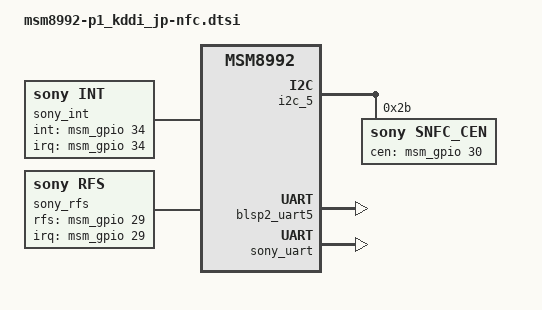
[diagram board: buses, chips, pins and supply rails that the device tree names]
/* Copyright (c) 2012, Code Aurora Forum. All rights reserved.
 *
 * This program is free software; you can redistribute it and/or modify
 * it under the terms of the GNU General Public License version 2 and
 * only version 2 as published by the Free Software Foundation.
 *
 * This program is distributed in the hope that it will be useful,
 * but WITHOUT ANY WARRANTY; without even the implied warranty of
 * MERCHANTABILITY or FITNESS FOR A PARTICULAR PURPOSE.  See the
 * GNU General Public License for more details.
 */

/ {
    aliases {
        serial2 = &blsp2_uart5;  /* ttyHSL2 for NFC/Felica  */
    };
};

&i2c_5 {
        snfc_cen@2b {
            compatible = "sony,snfc_cen";
            status = "ok";
            reg = <0x2b>;
            sony,i2c-pull-up = <1>;
            sony,cen-gpio = <&msm_gpio 30 0x00>;
            pinctrl-names = "nfc_suspend";
            pinctrl-0 = <&nfc_cen_suspend>;
        };
};

&soc {
        blsp2_uart5:serial@f9961000 {
        compatible = "qcom,msm-lsuart-v14";
        reg = <0xf9961000 0x1000>;
        interrupts = <0 117 0>;
        status = "ok";

        clock-names = "core_clk", "iface_clk";
        clocks = <&clock_gcc clk_gcc_blsp2_uart5_apps_clk>,
               <&clock_gcc clk_gcc_blsp2_ahb_clk>;
        pinctrl-names = "default";
        pinctrl-0 = <&nfc_uart_tx_default &nfc_uart_rx_default>;
    };

     sony_uart {
        compatible = "sony,driver";
        status = "ok";
        interrupt-parent = <&msm_gpio>;
        interrupts = <37 0x2>;
        sony,hsel-gpio = <&msm_gpio 35 0x00>;
        sony,intu-gpio = <&msm_gpio 37 0x00>;
        sony,rfs-gpio = <&msm_gpio 29 0x00>;
        sony,uicc_con = <&msm_gpio 53 0x00>;
        sony,hvdd-gpio = <&msm_gpio 38 0x00>;
        sony,pon-gpio = <&msm_gpio 26 0x00>;
        pinctrl-names = "nfc_suspend";
        pinctrl-0 = < &nfc_intu_suspend &nfc_hsel_suspend &nfc_rfs_suspend &nfc_uicc_suspend &nfc_hvdd_suspend &nfc_pon_suspend>;
    };

    sony_int {
        compatible = "sony,int";
        interrupt-parent = <&msm_gpio>;
        interrupts = <34 0x2>;
        sony,int-gpio = <&msm_gpio 34 0x00>;
        pinctrl-names = "nfc_suspend";
        pinctrl-0 = <&nfc_int_suspend>;
    };

    sony_rfs {
        compatible = "sony,rfs";
        interrupt-parent = <&msm_gpio>;
        interrupts = <29 0x3>;
        sony,rfs-gpio = <&msm_gpio 29 0x00>;
        pinctrl-names = "nfc_suspend";
        pinctrl-0 = <&nfc_rfs_suspend>;
    };
};
